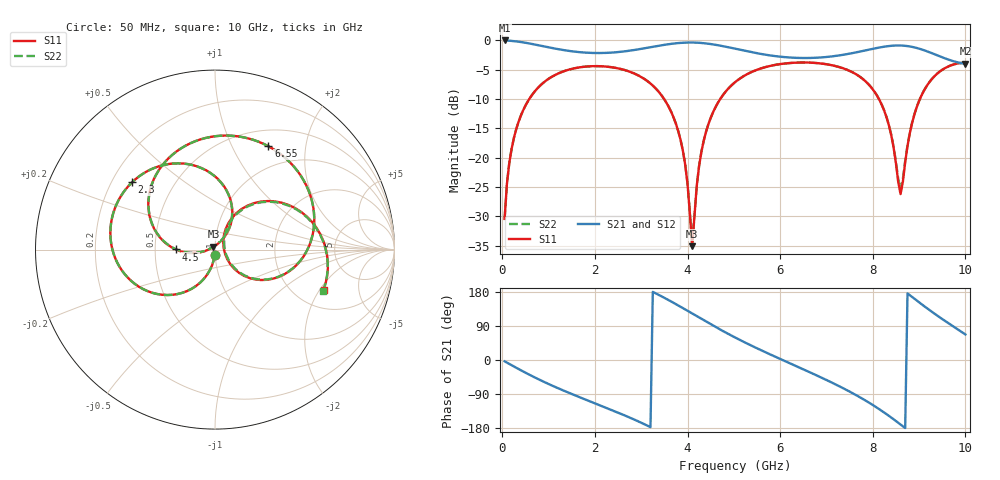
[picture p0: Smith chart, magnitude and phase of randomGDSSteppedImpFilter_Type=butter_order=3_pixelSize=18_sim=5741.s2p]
! freq	dB(S11)	phase(S11)	dB(S12)	phase(S12)
!  dB(S21)	phase(S21)	dB(S22)	phase(S22)
!S-par simulation data
#  GHz  S  DB  R 50
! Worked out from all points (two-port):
!   200 points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, 50 MHz to 10 GHz, reference 50 ohm
!   highest |S21| = -0.01 dB at 50 MHz (marker M1); lowest = -4.0 dB at 10 GHz (marker M2)
!   |S21| within 3 dB of the highest: start of sweep to 9.543 GHz
!   lowest |S11| = -35.1 dB at 4.1 GHz (marker M3), VSWR 1.04, Z = 49.1 + j1.52 ohm
!   |S11| at or under -10 dB: start of sweep to 581.7 MHz; 3.495 GHz to 4.705 GHz (1.21 GHz wide, 29.5 % of centre); 8.133 GHz to 9.018 GHz (884.3 MHz wide, 10.3 % of centre)
!   |S22| runs from -34.4 to -3.8 dB; largest |S21 - S12| = 0
!   S11 on the Smith chart (normalised r, x): 50 MHz: 0.99, -0.06; 2.3 GHz: 0.28, +0.33; 4.5 GHz: 0.64, +0.00; 6.55 GHz: 0.70, +1.40; 10 GHz: 2.83, -2.17
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0.05  -30.42 -93.5  -0.01 -3.5  -0.01 -3.5  -30.42 -93.5
0.2  -18.52 -104.1  -0.08 -13.7  -0.08 -13.7  -18.52 -104.1
0.5  -11.11 -124.0  -0.40 -33.5  -0.40 -33.5  -11.11 -123.9
1.05  -6.29 -156.6  -1.26 -66.1  -1.26 -66.1  -6.29 -156.6
1.75  -4.50 167.5  -2.06 -102.1  -2.06 -102.1  -4.50 167.6
2.3  -4.51 140.9  -2.10 -128.9  -2.10 -128.9  -4.51 141.0
3.4  -8.97 81.8  -0.88 170.5  -0.88 170.5  -8.97 82.0
3.9  -18.82 54.1  -0.40 136.9  -0.40 136.9  -18.80 54.9
4.1  -35.06 118.7  -0.36 122.8  -0.36 122.8  -34.37 119.0
4.25  -21.38 -169.4  -0.41 112.1  -0.41 112.1  -21.35 -170.5
4.5  -13.21 179.8  -0.62 94.4  -0.62 94.4  -13.20 179.4
5.05  -6.97 146.0  -1.45 58.0  -1.45 58.0  -6.97 145.8
5.75  -4.41 105.8  -2.52 16.7  -2.52 16.7  -4.41 105.7
6.55  -3.77 62.6  -3.00 -27.3  -3.00 -27.3  -3.77 62.6
6.7  -3.81 54.5  -2.98 -35.7  -2.98 -35.7  -3.81 54.5
7.7  -6.07 -4.0  -1.94 -96.8  -1.94 -96.8  -6.07 -3.8
8.35  -14.53 -43.9  -0.96 -147.5  -0.96 -147.5  -14.48 -42.8
8.6  -26.18 9.1  -0.87 -170.2  -0.87 -170.2  -25.41 8.8
8.8  -15.80 63.2  -1.03 171.0  -1.03 171.0  -15.73 61.5
9.05  -9.42 50.0  -1.52 147.6  -1.52 147.6  -9.40 49.1
9.45  -5.28 19.7  -2.72 112.3  -2.72 112.3  -5.28 19.1
10  -3.81 -20.3  -3.98 67.4  -3.98 67.4  -3.81 -20.7
